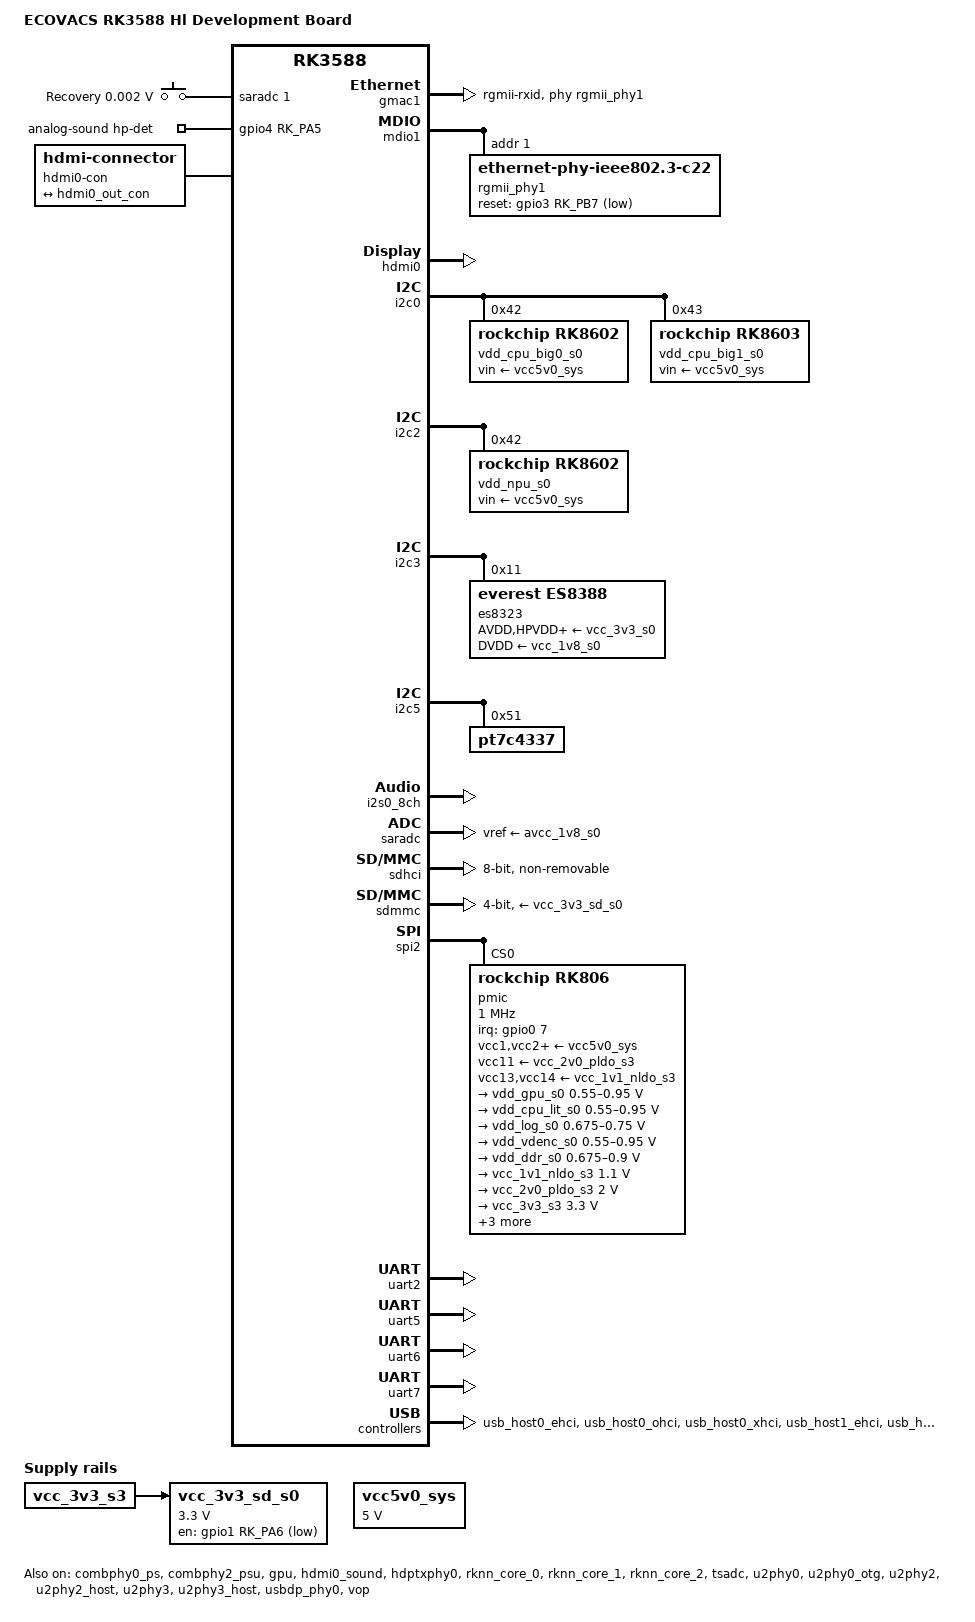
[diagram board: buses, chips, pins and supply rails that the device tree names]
// SPDX-License-Identifier: (GPL-2.0+ OR MIT)
/*
 * Modify by dy008
 */

/dts-v1/;

#include <dt-bindings/gpio/gpio.h>
#include <dt-bindings/leds/common.h>
#include <dt-bindings/input/input.h>
#include <dt-bindings/pinctrl/rockchip.h>
#include <dt-bindings/soc/rockchip,vop2.h>
#include <dt-bindings/usb/pd.h>
#include "rk3588s.dtsi"

/ {
    model = "ECOVACS RK3588 Hl Development Board";
	compatible = "rockchip,sy2223-rk3588s", "rockchip,rk3588";

	aliases {
		ethernet0 = &gmac1;
        mmc0 = &sdhci;
		mmc1 = &sdmmc;
	};

	chosen {
		stdout-path = "serial2:1500000n8";
	};

	adc-keys {
		compatible = "adc-keys";
		io-channels = <&saradc 1>;
		io-channel-names = "buttons";
		keyup-threshold-microvolt = <1800000>;
		poll-interval = <100>;

		button-recovery {
			label = "Recovery";
			linux,code = <KEY_VENDOR>;
			press-threshold-microvolt = <1800>;
		};
	};

	analog-sound {
		compatible = "simple-audio-card";
		simple-audio-card,name = "rockchip,es8311";
		simple-audio-card,bitclock-master = <&masterdai>;
        simple-audio-card,hp-det-gpios = <&gpio4 RK_PA5 GPIO_ACTIVE_HIGH>;
		simple-audio-card,format = "i2s";
		simple-audio-card,mclk-fs = <256>;
		simple-audio-card,routing =
			"Headphones", "LOUT1",
			"Headphones", "ROUT1";
		simple-audio-card,widgets =
			"Headphone", "Headphones";

		simple-audio-card,cpu {
			sound-dai = <&i2s0_8ch>;
		};

		masterdai: simple-audio-card,codec {
			sound-dai = <&es8323>;
			system-clock-frequency = <12288000>;
		};
	};

	hdmi0-con {
		compatible = "hdmi-connector";
		type = "a";

		port {
			hdmi0_con_in: endpoint {
				remote-endpoint = <&hdmi0_out_con>;
			};
		};
	};

	vcc5v0_sys: regulator-vcc5v0-sys {
		compatible = "regulator-fixed";
		regulator-name = "vcc5v0_sys";
		regulator-always-on;
		regulator-boot-on;
		regulator-min-microvolt = <5000000>;
		regulator-max-microvolt = <5000000>;
	};

    vcc_3v3_sd_s0: regulator-vcc-3v3-sd-s0 {
		compatible = "regulator-fixed";
		gpios = <&gpio1 RK_PA6 GPIO_ACTIVE_HIGH>;
		regulator-name = "vcc_3v3_sd_s0";
		regulator-boot-on;
		regulator-min-microvolt = <3300000>;
		regulator-max-microvolt = <3300000>;
		vin-supply = <&vcc_3v3_s3>;
	};
};

&combphy0_ps {
	status = "okay";
};

&combphy2_psu {
	status = "okay";
};

&cpu_b0 {
	cpu-supply = <&vdd_cpu_big0_s0>;
};

&cpu_b1 {
	cpu-supply = <&vdd_cpu_big0_s0>;
};

&cpu_b2 {
	cpu-supply = <&vdd_cpu_big1_s0>;
};

&cpu_b3 {
	cpu-supply = <&vdd_cpu_big1_s0>;
};

&cpu_l0 {
	cpu-supply = <&vdd_cpu_lit_s0>;
};

&cpu_l1 {
	cpu-supply = <&vdd_cpu_lit_s0>;
};

&cpu_l2 {
	cpu-supply = <&vdd_cpu_lit_s0>;
};

&cpu_l3 {
	cpu-supply = <&vdd_cpu_lit_s0>;
};

&gmac1 {
	clock_in_out = "output";
	phy-handle = <&rgmii_phy1>;
	phy-mode = "rgmii-rxid";
	pinctrl-0 = <&gmac1_miim
		     &gmac1_tx_bus2
		     &gmac1_rx_bus2
		     &gmac1_rgmii_clk
		     &gmac1_rgmii_bus>;
	pinctrl-names = "default";
	tx_delay = <0x45>;
	status = "okay";
};

&mdio1 {
	rgmii_phy1: ethernet-phy@1 {
		compatible = "ethernet-phy-ieee802.3-c22";
		reg = <0x1>;
		reset-assert-us = <20000>;
		reset-deassert-us = <100000>;
		reset-gpios = <&gpio3 RK_PB7 GPIO_ACTIVE_LOW>;
	};
};

&gpu {
	mali-supply = <&vdd_gpu_s0>;
	status = "okay";
};

&hdmi0 {
	status = "okay";
};

&hdmi0_in {
	hdmi0_in_vp0: endpoint {
		remote-endpoint = <&vp0_out_hdmi0>;
	};
};

&hdmi0_out {
	hdmi0_out_con: endpoint {
		remote-endpoint = <&hdmi0_con_in>;
	};
};

&hdmi0_sound {
	status = "okay";
};

&hdptxphy0 {
	status = "okay";
};

&i2c0 {
	pinctrl-names = "default";
	pinctrl-0 = <&i2c0m2_xfer>;
	status = "okay";

	vdd_cpu_big0_s0: regulator@42 {
		compatible = "rockchip,rk8602";
		reg = <0x42>;
		fcs,suspend-voltage-selector = <1>;
		regulator-name = "vdd_cpu_big0_s0";
		regulator-always-on;
		regulator-boot-on;
		regulator-min-microvolt = <550000>;
		regulator-max-microvolt = <1050000>;
		regulator-ramp-delay = <2300>;
		vin-supply = <&vcc5v0_sys>;

		regulator-state-mem {
			regulator-off-in-suspend;
		};
	};

	vdd_cpu_big1_s0: regulator@43 {
		compatible = "rockchip,rk8603", "rockchip,rk8602";
		reg = <0x43>;
		fcs,suspend-voltage-selector = <1>;
		regulator-name = "vdd_cpu_big1_s0";
		regulator-always-on;
		regulator-boot-on;
		regulator-min-microvolt = <550000>;
		regulator-max-microvolt = <1050000>;
		regulator-ramp-delay = <2300>;
		vin-supply = <&vcc5v0_sys>;

		regulator-state-mem {
			regulator-off-in-suspend;
		};
	};
};

&i2c2 {
	status = "okay";
    pinctrl-names = "default";
	pinctrl-0 = <&i2c2m0_xfer>;

	vdd_npu_s0: regulator@42 {
		compatible = "rockchip,rk8602";
		reg = <0x42>;
		fcs,suspend-voltage-selector = <1>;
		regulator-name = "vdd_npu_s0";
		regulator-always-on;
		regulator-boot-on;
		regulator-min-microvolt = <550000>;
		regulator-max-microvolt = <950000>;
		regulator-ramp-delay = <2300>;
		vin-supply = <&vcc5v0_sys>;

		regulator-state-mem {
			regulator-off-in-suspend;
		};
	};
};

&i2c3 {
	pinctrl-names = "default";
	pinctrl-0 = <&i2c3m0_xfer>;
	status = "okay";

	es8323: audio-codec@11 {
		compatible = "everest,es8388", "everest,es8328";
		reg = <0x11>;
		clocks = <&cru I2S0_8CH_MCLKOUT>;
		AVDD-supply = <&vcc_3v3_s0>;
		DVDD-supply = <&vcc_1v8_s0>;
		HPVDD-supply = <&vcc_3v3_s0>;
		PVDD-supply = <&vcc_3v3_s0>;
		assigned-clocks = <&cru I2S0_8CH_MCLKOUT>;
		assigned-clock-rates = <12288000>;
		#sound-dai-cells = <0>;
	};
};

&i2c5 {
	pinctrl-names = "default";
	pinctrl-0 = <&i2c5m2_xfer>;
	status = "okay";
    // RTC
	pt7c4337: pt7c4337@51 {
			reg = <0x51>;
		};
};

&i2s0_8ch {
	rockchip,i2s-tx-route = <3 2 1 0>;
	rockchip,i2s-rx-route = <1 3 2 0>;
	pinctrl-names = "default";
	pinctrl-0 = <&i2s0_sclk
	             &i2s0_mclk
	             &i2s0_lrck
	             &i2s0_sdi0
	             &i2s0_sdo0>;
	status = "okay";
};

/* &spi3 {
	status = "okay";
	assigned-clocks = <&cru CLK_SPI3>;
	assigned-clock-rates = <200000000>;
	pinctrl-names = "default";
	pinctrl-0 = <&spi3m1_cs0 &spi3m1_pins>;
	rx-sample-delay-ns = <0x0f>;

	icm42652@0 {
		compatible = "invensense,icm42652";
		reg = <0x00>;
		spi-max-frequency = <20000000>;
		spi-cpha;
		spi-cpol;
		interrupt-parent = <&gpio4>;
		interrupts = <RK_PC1 IRQ_TYPE_EDGE_FALLING>;
		pinctrl-names = "default";
		pinctrl-0 = <&icm_int1>;
	};
}; */

&pd_gpu {
	domain-supply = <&vdd_gpu_s0>;
};

&pd_npu {
	domain-supply = <&vdd_npu_s0>;
};

&pinctrl {
	
	imu{
		icm_int1: icm-int1 {
			//rockchip,pins = <0x04 0x11 0x00 0x148>;
			rockchip,pins = <4 RK_PC1 RK_FUNC_GPIO &pcfg_pull_none>;
		};
	};

	sound {
		hp_detect: hp-detect {
			rockchip,pins = <4 RK_PA5 RK_FUNC_GPIO &pcfg_pull_none>;
		};
	};
};

&rknn_core_0 {
	npu-supply = <&vdd_npu_s0>;
	sram-supply = <&vdd_npu_s0>;
	status = "okay";
};

&rknn_core_1 {
	npu-supply = <&vdd_npu_s0>;
	sram-supply = <&vdd_npu_s0>;
	status = "okay";
};

&rknn_core_2 {
	npu-supply = <&vdd_npu_s0>;
	sram-supply = <&vdd_npu_s0>;
	status = "okay";
};

&rknn_mmu_0 {
	status = "okay";
};

&rknn_mmu_1 {
	status = "okay";
};

&rknn_mmu_2 {
	status = "okay";
};

&saradc {
	vref-supply = <&avcc_1v8_s0>;
	status = "okay";
};

&sdhci {
	bus-width = <8>;
	no-sdio;
	no-sd;
	non-removable;
	max-frequency = <200000000>;
	mmc-hs400-1_8v;
	mmc-hs400-enhanced-strobe;
	status = "okay";
};

&sdmmc {
	bus-width = <4>;
	cap-sd-highspeed;
	disable-wp;
	max-frequency = <150000000>;
	no-mmc;
	supports-sdio;
	sd-uhs-sdr104;
	vmmc-supply = <&vcc_3v3_sd_s0>;
	vqmmc-supply = <&vccio_sd_s0>;
	status = "okay";
};

&spi2 {
	status = "okay";
	assigned-clocks = <&cru CLK_SPI2>;
	assigned-clock-rates = <200000000>;
	num-cs = <1>;
	pinctrl-names = "default";
	pinctrl-0 = <&spi2m2_cs0 &spi2m2_pins>;

	pmic@0 {
		compatible = "rockchip,rk806";
		reg = <0x0>;
		interrupt-parent = <&gpio0>;
		interrupts = <7 IRQ_TYPE_LEVEL_LOW>;
		pinctrl-names = "default";
		pinctrl-0 = <&pmic_pins>, <&rk806_dvs1_null>,
				<&rk806_dvs2_null>, <&rk806_dvs3_null>;
		spi-max-frequency = <1000000>;
		system-power-controller;

		vcc1-supply = <&vcc5v0_sys>;
		vcc2-supply = <&vcc5v0_sys>;
		vcc3-supply = <&vcc5v0_sys>;
		vcc4-supply = <&vcc5v0_sys>;
		vcc5-supply = <&vcc5v0_sys>;
		vcc6-supply = <&vcc5v0_sys>;
		vcc7-supply = <&vcc5v0_sys>;
		vcc8-supply = <&vcc5v0_sys>;
		vcc9-supply = <&vcc5v0_sys>;
		vcc10-supply = <&vcc5v0_sys>;
		vcc11-supply = <&vcc_2v0_pldo_s3>;
		vcc12-supply = <&vcc5v0_sys>;
		vcc13-supply = <&vcc_1v1_nldo_s3>;
		vcc14-supply = <&vcc_1v1_nldo_s3>;
		vcca-supply = <&vcc5v0_sys>;

		gpio-controller;
		#gpio-cells = <2>;

		rk806_dvs1_null: dvs1-null-pins {
			pins = "gpio_pwrctrl1";
			function = "pin_fun0";
		};

		rk806_dvs2_null: dvs2-null-pins {
			pins = "gpio_pwrctrl2";
			function = "pin_fun0";
		};

		rk806_dvs3_null: dvs3-null-pins {
			pins = "gpio_pwrctrl3";
			function = "pin_fun0";
		};

		regulators {
			vdd_gpu_s0: dcdc-reg1 {
				regulator-name = "vdd_gpu_s0";
				regulator-boot-on;
				regulator-min-microvolt = <550000>;
				regulator-max-microvolt = <950000>;
				regulator-ramp-delay = <12500>;
				regulator-enable-ramp-delay = <400>;

				regulator-state-mem {
					regulator-off-in-suspend;
				};
			};

			vdd_cpu_lit_s0: dcdc-reg2 {
				regulator-name = "vdd_cpu_lit_s0";
				regulator-always-on;
				regulator-boot-on;
				regulator-min-microvolt = <550000>;
				regulator-max-microvolt = <950000>;
				regulator-ramp-delay = <12500>;

				regulator-state-mem {
					regulator-off-in-suspend;
				};
			};

			vdd_log_s0: dcdc-reg3 {
				regulator-name = "vdd_log_s0";
				regulator-always-on;
				regulator-boot-on;
				regulator-min-microvolt = <675000>;
				regulator-max-microvolt = <750000>;
				regulator-ramp-delay = <12500>;

				regulator-state-mem {
					regulator-off-in-suspend;
					regulator-suspend-microvolt = <750000>;
				};
			};

			vdd_vdenc_s0: dcdc-reg4 {
				regulator-name = "vdd_vdenc_s0";
				regulator-always-on;
				regulator-boot-on;
				regulator-min-microvolt = <550000>;
				regulator-max-microvolt = <950000>;
				regulator-ramp-delay = <12500>;

				regulator-state-mem {
					regulator-off-in-suspend;
				};
			};

			vdd_ddr_s0: dcdc-reg5 {
				regulator-name = "vdd_ddr_s0";
				regulator-always-on;
				regulator-boot-on;
				regulator-min-microvolt = <675000>;
				regulator-max-microvolt = <900000>;
				regulator-ramp-delay = <12500>;

				regulator-state-mem {
					regulator-off-in-suspend;
					regulator-suspend-microvolt = <850000>;
				};
			};

			vcc_1v1_nldo_s3: vdd2_ddr_s3: dcdc-reg6 {
				regulator-name = "vdd2_ddr_s3";
				regulator-always-on;
				regulator-boot-on;
				regulator-max-microvolt = <1100000>;
				regulator-min-microvolt = <1100000>;

				regulator-state-mem {
					regulator-on-in-suspend;
				};
			};

			vcc_2v0_pldo_s3: dcdc-reg7 {
				regulator-name = "vdd_2v0_pldo_s3";
				regulator-always-on;
				regulator-boot-on;
				regulator-min-microvolt = <2000000>;
				regulator-max-microvolt = <2000000>;
				regulator-ramp-delay = <12500>;

				regulator-state-mem {
					regulator-on-in-suspend;
					regulator-suspend-microvolt = <2000000>;
				};
			};

			vcc_3v3_s3: dcdc-reg8 {
				regulator-name = "vcc_3v3_s3";
				regulator-always-on;
				regulator-boot-on;
				regulator-min-microvolt = <3300000>;
				regulator-max-microvolt = <3300000>;

				regulator-state-mem {
					regulator-on-in-suspend;
					regulator-suspend-microvolt = <3300000>;
				};
			};

			vddq_ddr_s0: dcdc-reg9 {
				regulator-name = "vddq_ddr_s0";
				regulator-always-on;
				regulator-boot-on;

				regulator-state-mem {
					regulator-off-in-suspend;
				};
			};

			vcc_1v8_s3: dcdc-reg10 {
				regulator-name = "vcc_1v8_s3";
				regulator-always-on;
				regulator-boot-on;
				regulator-min-microvolt = <1800000>;
				regulator-max-microvolt = <1800000>;

				regulator-state-mem {
					regulator-on-in-suspend;
					regulator-suspend-microvolt = <1800000>;
				};
			};

			avcc_1v8_s0: pldo-reg1 {
				regulator-name = "avcc_1v8_s0";
				regulator-always-on;
				regulator-boot-on;
				regulator-min-microvolt = <1800000>;
				regulator-max-microvolt = <1800000>;

				regulator-state-mem {
					regulator-off-in-suspend;
				};
			};

			vcc_1v8_s0: pldo-reg2 {
				regulator-name = "vcc_1v8_s0";
				regulator-always-on;
				regulator-boot-on;
				regulator-min-microvolt = <1800000>;
				regulator-max-microvolt = <1800000>;

				regulator-state-mem {
					regulator-off-in-suspend;
					regulator-suspend-microvolt = <1800000>;
				};
			};

			avdd_1v2_s0: pldo-reg3 {
				regulator-name = "avdd_1v2_s0";
				regulator-always-on;
				regulator-boot-on;
				regulator-min-microvolt = <1200000>;
				regulator-max-microvolt = <1200000>;

				regulator-state-mem {
					regulator-off-in-suspend;
				};
			};

			vcc_3v3_s0: pldo-reg4 {
				regulator-name = "vcc_3v3_s0";
				regulator-always-on;
				regulator-boot-on;
				regulator-min-microvolt = <3300000>;
				regulator-max-microvolt = <3300000>;
				regulator-ramp-delay = <12500>;

				regulator-state-mem {
					regulator-off-in-suspend;
				};
			};

			vccio_sd_s0: pldo-reg5 {
				regulator-name = "vccio_sd_s0";
				regulator-always-on;
				regulator-boot-on;
				regulator-min-microvolt = <1800000>;
				regulator-max-microvolt = <3300000>;
				regulator-ramp-delay = <12500>;

				regulator-state-mem {
					regulator-off-in-suspend;
				};
			};

			pldo6_s3: pldo-reg6 {
				regulator-name = "pldo6_s3";
				regulator-always-on;
				regulator-boot-on;
				regulator-min-microvolt = <1800000>;
				regulator-max-microvolt = <1800000>;

				regulator-state-mem {
					regulator-on-in-suspend;
					regulator-suspend-microvolt = <1800000>;
				};
			};

			vdd_0v75_s3: nldo-reg1 {
				regulator-name = "vdd_0v75_s3";
				regulator-always-on;
				regulator-boot-on;
				regulator-min-microvolt = <750000>;
				regulator-max-microvolt = <750000>;

				regulator-state-mem {
					regulator-on-in-suspend;
					regulator-suspend-microvolt = <750000>;
				};
			};

			vdd_ddr_pll_s0: nldo-reg2 {
				regulator-name = "vdd_ddr_pll_s0";
				regulator-always-on;
				regulator-boot-on;
				regulator-min-microvolt = <850000>;
				regulator-max-microvolt = <850000>;

				regulator-state-mem {
					regulator-off-in-suspend;
					regulator-suspend-microvolt = <850000>;
				};
			};

			avdd_0v75_s0: nldo-reg3 {
				regulator-name = "avdd_0v75_s0";
				regulator-always-on;
				regulator-boot-on;
				regulator-min-microvolt = <750000>;
				regulator-max-microvolt = <750000>;

				regulator-state-mem {
					regulator-off-in-suspend;
				};
			};

			vdd_0v85_s0: nldo-reg4 {
				regulator-name = "vdd_0v85_s0";
				regulator-always-on;
				regulator-boot-on;
				regulator-min-microvolt = <850000>;
				regulator-max-microvolt = <850000>;

				regulator-state-mem {
					regulator-off-in-suspend;
				};
			};

			vdd_0v75_s0: nldo-reg5 {
				regulator-name = "vdd_0v75_s0";
				regulator-always-on;
				regulator-boot-on;
				regulator-min-microvolt = <750000>;
				regulator-max-microvolt = <750000>;

				regulator-state-mem {
					regulator-off-in-suspend;
				};
			};
		};
	};
};

&tsadc {
	status = "okay";
};

&u2phy0 {
	status = "okay";
};

&u2phy0_otg {
	status = "okay";
};

&u2phy2 {
	status = "okay";
};

&u2phy2_host {
	status = "okay";
};

&u2phy3 {
	status = "okay";
};

&u2phy3_host {
	status = "okay";
};

&uart2 {
	pinctrl-0 = <&uart2m0_xfer>;
	status = "okay";
};

&uart5 {
	pinctrl-0 = <&uart5m1_xfer>;
	status = "okay";
};

&uart6 {
	pinctrl-0 = <&uart6m1_xfer &uart6m1_ctsn &uart6m1_rtsn>;
	status = "okay";
};

&uart7 {
	pinctrl-0 = <&uart7m1_xfer>;
	status = "okay";
};

&usbdp_phy0 {
	status = "okay";
};

&usb_host0_ehci {
	status = "okay";
};

&usb_host0_ohci {
	status = "okay";
};

&usb_host0_xhci {
	status = "okay";
};

&usb_host1_ehci {
	status = "okay";
};

&usb_host1_ohci {
	status = "okay";
};

&usb_host2_xhci {
	status = "okay";
};

&vop_mmu {
	status = "okay";
};

&vop {
	status = "okay";
};

&vp0 {
	vp0_out_hdmi0: endpoint@ROCKCHIP_VOP2_EP_HDMI0 {
		reg = <ROCKCHIP_VOP2_EP_HDMI0>;
		remote-endpoint = <&hdmi0_in_vp0>;
	};
};
